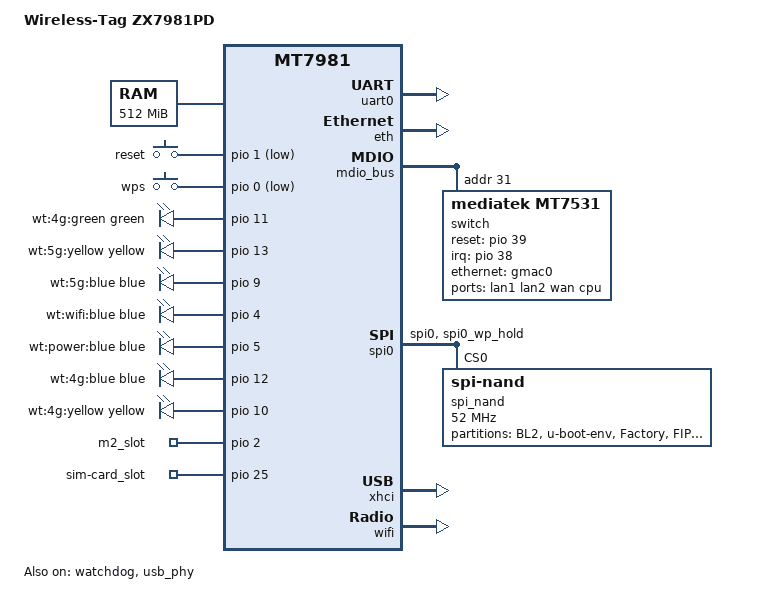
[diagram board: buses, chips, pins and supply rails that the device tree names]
/dts-v1/;

#include "mt7981.dtsi"
#include <dt-bindings/gpio/gpio.h>
#include <dt-bindings/input/input.h>
#include <dt-bindings/leds/common.h>

/ {
	model = "Wireless-Tag ZX7981PD";
	compatible = "wirelesstag,zx7981pd", "mediatek,mt7981";

	aliases {
		ethernet0 = &gmac0;
		ethernet1 = &gmac1;
		serial0 = &uart0;
	};

	chosen {
		stdout-path = "serial0:115200n8";
	};

	memory {
		reg = <0 0x40000000 0 0x20000000>;
	};



    gpio-keys {
		compatible = "gpio-keys";

		button-reset {
			label = "reset";
			linux,code = <KEY_RESTART>;
			gpios = <&pio 1 GPIO_ACTIVE_LOW>;
		};

		button-wps {
			label = "wps";
			linux,code = <KEY_WPS_BUTTON>;
			gpios = <&pio 0 GPIO_ACTIVE_LOW>;
		};
	};

    gpio-leds {
		compatible = "gpio-leds";

      	led-0 {
			label = "wt:4g:green";
			color = <LED_COLOR_ID_GREEN>;
			gpios = <&pio 11 GPIO_ACTIVE_HIGH>;
			default-state = "off";
		};
        
        led-1 {
			label = "wt:5g:yellow";
            color = <LED_COLOR_ID_YELLOW>;
			gpios = <&pio 13 GPIO_ACTIVE_HIGH>;
			default-state = "off";
        };

        led-2 {
			label = "wt:5g:blue";
            color = <LED_COLOR_ID_BLUE>;
			gpios = <&pio 9 GPIO_ACTIVE_HIGH>;
			default-state = "off";
        };

        led-3 {
			label = "wt:wifi:blue";
            color = <LED_COLOR_ID_BLUE>;
			gpios = <&pio 4 GPIO_ACTIVE_HIGH>;
			default-state = "off";
        };

        led-4 {
			label = "wt:power:blue";
            color = <LED_COLOR_ID_BLUE>;
			function = LED_FUNCTION_POWER;
			gpios = <&pio 5 GPIO_ACTIVE_HIGH>;
			default-state = "on";
        };

        led-5 {
			label = "wt:4g:blue";
            color = <LED_COLOR_ID_BLUE>;
			gpios = <&pio 12 GPIO_ACTIVE_HIGH>;
			default-state = "off";
        };

        led-6 {
			label = "wt:4g:yellow";
            color = <LED_COLOR_ID_YELLOW>;
			gpios = <&pio 10 GPIO_ACTIVE_HIGH>;
			default-state = "off";
        };
    };

	gpio-export {
		compatible = "gpio-export";

		m2_slot {
			gpio-export,name = "m2_slot";
			gpio-export,output = <0>; // OUT_INIT_LOW
			gpios = <&pio 2 0>;    // GPIO 2, ACTIVE_LOW
		};

		sim-card_slot {
			gpio-export,name = "sim-card_slot";
			gpio-export,output = <1>; // OUT_INIT_LOW
			gpios = <&pio 25 0>;    // GPIO 15, ACTIVE_LOW
		};
	};
};

&uart0 {
	status = "okay";
};

&watchdog {
	status = "okay";
};

&eth {
	status = "okay";

	gmac0: mac@0 {
		compatible = "mediatek,eth-mac";
		reg = <0>;
		phy-mode = "2500base-x";
		nvmem-cell-names = "mac-address";
		nvmem-cells = <&macaddr_factory_4 (-1)>;

		fixed-link {
			speed = <2500>;
			full-duplex;
			pause;
		};
	};

	// FAKE ETH1 interface dedicated to USB Offload
	gmac1: mac@1 {
		compatible = "mediatek,eth-mac";
		reg = <1>;
		phy-mode = "gmii";
		phy-handle = <&int_gbe_phy>;
	};
};


&mdio_bus {
	switch: switch@1f {
		compatible = "mediatek,mt7531";
		reg = <31>;
		reset-gpios = <&pio 39 GPIO_ACTIVE_HIGH>;
		interrupt-controller;
		#interrupt-cells = <1>;
		interrupt-parent = <&pio>;
		interrupts = <38 IRQ_TYPE_LEVEL_HIGH>;
	};
};

&switch {
	ports {
		#address-cells = <1>;
		#size-cells = <0>;

		port@0 {
			reg = <0>;
			label = "lan1";
		};

		port@1 {
			reg = <1>;
			label = "lan2";
		};

		port@2 {
			reg = <2>;
			label = "wan";
		};

		port@6 {
			reg = <6>;
			label = "cpu";
			ethernet = <&gmac0>;
			phy-mode = "2500base-x";

			fixed-link {
				speed = <2500>;
				full-duplex;
				pause;
			};
		};
	};
};


&spi0 {
	pinctrl-names = "default";
	pinctrl-0 = <&spi0_flash_pins>;
	status = "okay";

	spi_nand: flash@0 {
		#address-cells = <1>;
		#size-cells = <1>;
		compatible = "spi-nand";
		reg = <0>;
		spi-max-frequency = <52000000>;
		spi-tx-bus-width = <4>;
		spi-rx-bus-width = <4>;

		mediatek,nmbm;
		mediatek,bmt-max-ratio = <1>;
		mediatek,bmt-max-reserved-blocks = <64>;

		partitions {
			compatible = "fixed-partitions";
			#address-cells = <1>;
			#size-cells = <1>;

			partition@0 {
				label = "BL2";
				reg = <0x00000 0x0100000>;
			};

			partition@100000 {
				label = "u-boot-env";
				reg = <0x0100000 0x0080000>;
			};

			partition@180000 {
				label = "Factory";
				reg = <0x180000 0x200000>;
				read-only;

				nvmem-layout {
					compatible = "fixed-layout";
					#address-cells = <1>;
					#size-cells = <1>;

					eeprom_factory_0: eeprom@0 {
						reg = <0x0 0x1000>;
					};

					macaddr_factory_4: macaddr@4 {
						compatible = "mac-base";
						reg = <0x4 0x6>;
						#nvmem-cell-cells = <1>;
					};
				};
			};

			partition@380000 {
				label = "FIP";
				reg = <0x380000 0x0200000>;
			};

			partition@580000 {
				label = "woem";
				reg = <0x580000 0xa0000>;
			};

			partition@620000 {
				label = "ubi";
				reg = <0x620000 0x3800000>;
			};

			partition@3E20000 {
				label = "ubi2";
				reg = <0x3E20000 0x3800000>;
			};

			partition@7620000 {
				label = "wtinfo";
				reg = <0x7620000 0x60000>;
			};

			partition@7680000 {
				label = "nvram";
				reg = <0x7680000 0x60000>;
			};
		};
	};
};

&pio {
	spi0_flash_pins: spi0-pins {
		mux {
			function = "spi";
			groups = "spi0", "spi0_wp_hold";
		};
	};
};

&usb_phy {
	status = "okay";
};

&xhci {
	status = "okay";
};

&watchdog {
	status = "okay";
};

&wifi {
	nvmem-cells = <&eeprom_factory_0>;
	nvmem-cell-names = "eeprom";

	status = "okay";
};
